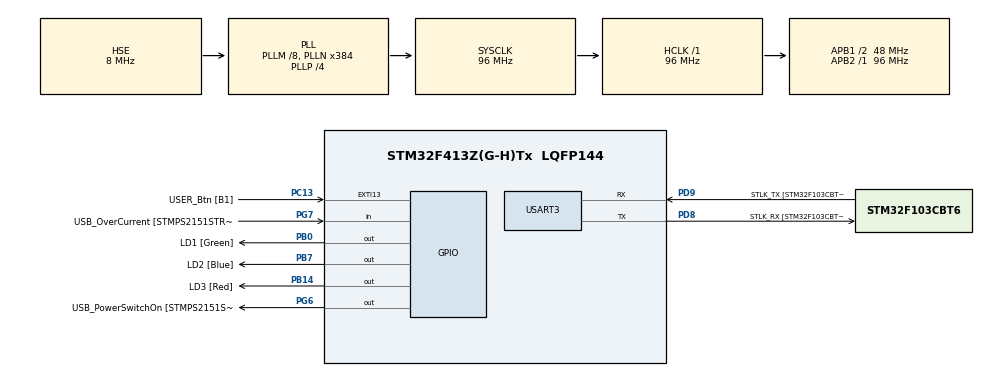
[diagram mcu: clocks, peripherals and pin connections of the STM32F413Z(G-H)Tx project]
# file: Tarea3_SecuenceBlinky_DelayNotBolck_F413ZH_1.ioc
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Mcu.Family=STM32F4
Mcu.Name=STM32F413Z(G-H)Tx
Mcu.Package=LQFP144
NVIC.PriorityGroup=NVIC_PRIORITYGROUP_4
PA10.GPIO_Label=USB_ID
PA10.Signal=USB_OTG_FS_ID
PA11.GPIO_Label=USB_DM
PA11.Signal=USB_OTG_FS_DM
PA12.GPIO_Label=USB_DP
PA12.Signal=USB_OTG_FS_DP
PA13.GPIO_Label=TMS
PA13.Mode=Serial_Wire
PA13.Signal=SYS_JTMS-SWDIO
PA14.GPIO_Label=TCK
PA14.Mode=Serial_Wire
PA14.Signal=SYS_JTCK-SWCLK
PA8.GPIO_Label=USB_SOF [TP1]
PA8.Signal=USB_OTG_FS_SOF
PA9.GPIO_Label=USB_VBUS
PA9.Signal=USB_OTG_FS_VBUS
PB0.GPIO_Label=LD1 [Green]
PB0.Signal=GPIO_Output
PB14.GPIO_Label=LD3 [Red]
PB14.Signal=GPIO_Output
PB3.GPIO_Label=SWO
PB3.Signal=SYS_JTDO-SWO
PB7.GPIO_Label=LD2 [Blue]
PB7.Signal=GPIO_Output
PC13.GPIO_Label=USER_Btn [B1]
PC13.Signal=GPXTI13
PC14-OSC32_IN.Mode=LSE-External-Oscillator
PC14-OSC32_IN.Signal=RCC_OSC32_IN
PC15-OSC32_OUT.Mode=LSE-External-Oscillator
PC15-OSC32_OUT.Signal=RCC_OSC32_OUT
PD8.GPIO_Label=STLK_RX [STM32F103CBT6_PA3]
PD8.Mode=Asynchronous
PD8.Signal=USART3_TX
PD9.GPIO_Label=STLK_TX [STM32F103CBT6_PA2]
PD9.Mode=Asynchronous
PD9.Signal=USART3_RX
PG6.GPIO_Label=USB_PowerSwitchOn [STMPS2151STR_EN]
PG6.Signal=GPIO_Output
PG7.GPIO_Label=USB_OverCurrent [STMPS2151STR_FAULT]
PG7.Signal=GPIO_Input
PH0\ -\ OSC_IN.GPIO_Label=MCO
PH0\ -\ OSC_IN.Mode=HSE-External-Clock-Source
PH0\ -\ OSC_IN.Signal=RCC_OSC_IN
PH1\ -\ OSC_OUT.Mode=HSE-External-Clock-Source
PH1\ -\ OSC_OUT.Signal=RCC_OSC_OUT
ProjectManager.HeapSize=0x200
ProjectManager.StackSize=0x400
ProjectManager.TargetToolchain=STM32CubeIDE
RCC.48MHZClocksFreq_Value=24000000
RCC.AHBFreq_Value=96000000
RCC.APB1CLKDivider=RCC_HCLK_DIV2
RCC.APB1Freq_Value=48000000
RCC.APB1TimFreq_Value=96000000
RCC.APB2Freq_Value=96000000
RCC.APB2TimFreq_Value=96000000
RCC.CortexFreq_Value=96000000
RCC.HCLKFreq_Value=96000000
RCC.HSE_VALUE=8000000
RCC.HSI_VALUE=16000000
RCC.PLLM=8
RCC.PLLMUL=RCC_PLL_MUL9
RCC.PLLN=384
RCC.PLLP=RCC_PLLP_DIV4
RCC.PLLQ=8
RCC.PLLSourceVirtual=RCC_PLLSOURCE_HSE
RCC.PRESCALERUSB=RCC_USBCLKSOURCE_PLL_DIV1_5
RCC.SYSCLKFreq_VALUE=96000000
RCC.SYSCLKSource=RCC_SYSCLKSOURCE_PLLCLK
RCC.SYSCLKSourceVirtual=RCC_SYSCLKSOURCE_PLLCLK
RCC.USBFreq_Value=48000000
RCC.VCOOutputFreq_Value=384000000
USART3.VirtualMode=VM_ASYNC
board=NUCLEO-F413ZH

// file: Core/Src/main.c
/* USER CODE BEGIN Header */
/**
  ******************************************************************************
  * @file           : main.c Tarea3_SecuenceBlinky_DelayNotBlock_F413ZH_1
  * @brief          : Main program body
  ******************************************************************************
  * @attention
  *
  * Copyright (c) 2023 STMicroelectronics.
  * All rights reserved.
  *
  * This software is licensed under terms that can be found in the LICENSE file
  * in the root directory of this software component.
  * If no LICENSE file comes with this software, it is provided AS-IS.
  *
  ******************************************************************************
  */
/* USER CODE END Header */
#include "main.h"
#include "API_delay.h"

/* USER CODE BEGIN PD */
/*Definition of periods in milliseconds for the USER LEDs*/
#define TIME_LD1 200
#define TIME_LD2 200
#define TIME_LD3 200
/* USER CODE END PD */

UART_HandleTypeDef huart3;

void SystemClock_Config(void);
static void MX_GPIO_Init(void);
static void MX_USART3_UART_Init(void);
void Error_Handler(void);

int main(void)
{
  /*Definition of delay structures for the USER LEDs*/
  delay_t delay_LD1;
  delay_t delay_LD2;
  delay_t delay_LD3;

  bool StatusLD1_Pin = false;
  bool StatusLD2_Pin = false;
  bool StatusLD3_Pin = false;

  /* MCU Configuration--------------------------------------------------------*/

  /* Reset of all peripherals, Initializes the Flash interface and the Systick. */
  HAL_Init();

  /* Configure the system clock */
  SystemClock_Config();

  /* USER CODE BEGIN SysInit */
  /*Inicializar funciones de delay para los LEDs de usuario*/
  delayInit( &delay_LD1, TIME_LD1 );
  delayInit( &delay_LD2, TIME_LD2 );
  delayInit( &delay_LD3, TIME_LD3 );

    /* USER CODE END SysInit */

  /* Initialize all configured peripherals */
  MX_GPIO_Init();
  MX_USART3_UART_Init();

  /* USER CODE BEGIN 2 */
  delayRead(&delay_LD1);/*Inicia conteo del delay la primera vez que se ejecuta*/
  HAL_GPIO_WritePin(GPIOB, LD1_Pin, GPIO_PIN_RESET); /*LD1_Pin Off*/
  StatusLD1_Pin = GetStatus_GPIO_Pin(GPIOB, LD1_Pin);

  delayRead(&delay_LD2);/*Inicia conteo del delay la primera vez que se ejecuta*/
  HAL_GPIO_WritePin(GPIOB, LD2_Pin, GPIO_PIN_RESET); /*LD2_Pin Off*/
  StatusLD2_Pin = GetStatus_GPIO_Pin(GPIOB, LD2_Pin);

  delayRead(&delay_LD3);/*Inicia conteo del delay la primera vez que se ejecuta*/
  HAL_GPIO_WritePin(GPIOB, LD3_Pin, GPIO_PIN_RESET); /*LD3_Pin Off*/
  StatusLD3_Pin = GetStatus_GPIO_Pin(GPIOB, LD3_Pin);

  /* USER CODE END 2 */

  /* Infinite loop */
  while (1)
  {
	if (delayRead(&delay_LD1) && (!StatusLD2_Pin) && (!StatusLD3_Pin))
	{
		HAL_GPIO_TogglePin(GPIOB, LD1_Pin);
	  	delayRead(&delay_LD1);/*Cuando delayRead()=True, en la proxima ejecución
	  		  	  	  	  	   *reinicia conteo del periodo programado*/
	  	StatusLD1_Pin = GetStatus_GPIO_Pin(GPIOB, LD1_Pin);
	}

	if (delayRead(&delay_LD2) && (!StatusLD1_Pin) && (!StatusLD3_Pin))
	{
	    HAL_GPIO_TogglePin(GPIOB, LD2_Pin);
	  	delayRead(&delay_LD2);/*Cuando delayRead()=True, en la proxima ejecución
	  		  		  	  	   *reinicia conteo del periodo programado*/
	  	StatusLD2_Pin = GetStatus_GPIO_Pin(GPIOB, LD2_Pin);
	}

	if (delayRead(&delay_LD3) && (!StatusLD1_Pin) && (!StatusLD2_Pin))
	{
	 	HAL_GPIO_TogglePin(GPIOB, LD3_Pin);
	  	delayRead(&delay_LD3);/*Cuando delayRead()=True, en la proxima ejecución
	  	  	  		  	  	   *reinicia conteo del periodo programado*/
	  	StatusLD3_Pin = GetStatus_GPIO_Pin(GPIOB, LD3_Pin);
	}
  }
}

void SystemClock_Config(void)
{
  RCC_OscInitTypeDef RCC_OscInitStruct = {0};
  RCC_ClkInitTypeDef RCC_ClkInitStruct = {0};

  /** Configure the main internal regulator output voltage
  */
  __HAL_RCC_PWR_CLK_ENABLE();
  __HAL_PWR_VOLTAGESCALING_CONFIG(PWR_REGULATOR_VOLTAGE_SCALE1);

  /** Initializes the RCC Oscillators according to the specified parameters
  * in the RCC_OscInitTypeDef structure.
  */
  RCC_OscInitStruct.OscillatorType = RCC_OSCILLATORTYPE_HSE;
  RCC_OscInitStruct.HSEState = RCC_HSE_BYPASS;
  RCC_OscInitStruct.PLL.PLLState = RCC_PLL_ON;
  RCC_OscInitStruct.PLL.PLLSource = RCC_PLLSOURCE_HSE;
  RCC_OscInitStruct.PLL.PLLM = 8;
  RCC_OscInitStruct.PLL.PLLN = 384;
  RCC_OscInitStruct.PLL.PLLP = RCC_PLLP_DIV4;
  RCC_OscInitStruct.PLL.PLLQ = 8;
  RCC_OscInitStruct.PLL.PLLR = 2;
  if (HAL_RCC_OscConfig(&RCC_OscInitStruct) != HAL_OK)
  {
    Error_Handler();
  }

  /** Initializes the CPU, AHB and APB buses clocks
  */
  RCC_ClkInitStruct.ClockType = RCC_CLOCKTYPE_HCLK|RCC_CLOCKTYPE_SYSCLK
                              |RCC_CLOCKTYPE_PCLK1|RCC_CLOCKTYPE_PCLK2;
  RCC_ClkInitStruct.SYSCLKSource = RCC_SYSCLKSOURCE_PLLCLK;
  RCC_ClkInitStruct.AHBCLKDivider = RCC_SYSCLK_DIV1;
  RCC_ClkInitStruct.APB1CLKDivider = RCC_HCLK_DIV2;
  RCC_ClkInitStruct.APB2CLKDivider = RCC_HCLK_DIV1;

  if (HAL_RCC_ClockConfig(&RCC_ClkInitStruct, FLASH_LATENCY_3) != HAL_OK)
  {
    Error_Handler();
  }
}

static void MX_USART3_UART_Init(void)
{

  huart3.Instance = USART3;
  huart3.Init.BaudRate = 115200;
  huart3.Init.WordLength = UART_WORDLENGTH_8B;
  huart3.Init.StopBits = UART_STOPBITS_1;
  huart3.Init.Parity = UART_PARITY_NONE;
  huart3.Init.Mode = UART_MODE_TX_RX;
  huart3.Init.HwFlowCtl = UART_HWCONTROL_NONE;
  huart3.Init.OverSampling = UART_OVERSAMPLING_16;
  if (HAL_UART_Init(&huart3) != HAL_OK)
  {
    Error_Handler();
  }

}

static void MX_GPIO_Init(void)
{
  GPIO_InitTypeDef GPIO_InitStruct = {0};

  /* GPIO Ports Clock Enable */
  __HAL_RCC_GPIOC_CLK_ENABLE();
  __HAL_RCC_GPIOH_CLK_ENABLE();
  __HAL_RCC_GPIOB_CLK_ENABLE();
  __HAL_RCC_GPIOD_CLK_ENABLE();
  __HAL_RCC_GPIOG_CLK_ENABLE();
  __HAL_RCC_GPIOA_CLK_ENABLE();

  /*Configure GPIO pin Output Level */
  HAL_GPIO_WritePin(GPIOB, LD1_Pin|LD3_Pin|LD2_Pin, GPIO_PIN_RESET);

  /*Configure GPIO pin Output Level */
  HAL_GPIO_WritePin(USB_PowerSwitchOn_GPIO_Port, USB_PowerSwitchOn_Pin, GPIO_PIN_RESET);

  /*Configure GPIO pin : USER_Btn_Pin */
  GPIO_InitStruct.Pin = USER_Btn_Pin;
  GPIO_InitStruct.Mode = GPIO_MODE_IT_RISING;
  GPIO_InitStruct.Pull = GPIO_NOPULL;
  HAL_GPIO_Init(USER_Btn_GPIO_Port, &GPIO_InitStruct);

  /*Configure GPIO pins : LD1_Pin LD3_Pin LD2_Pin */
  GPIO_InitStruct.Pin = LD1_Pin|LD3_Pin|LD2_Pin;
  GPIO_InitStruct.Mode = GPIO_MODE_OUTPUT_PP;
  GPIO_InitStruct.Pull = GPIO_NOPULL;
  GPIO_InitStruct.Speed = GPIO_SPEED_FREQ_LOW;
  HAL_GPIO_Init(GPIOB, &GPIO_InitStruct);

  /*Configure GPIO pin : USB_PowerSwitchOn_Pin */
  GPIO_InitStruct.Pin = USB_PowerSwitchOn_Pin;
  GPIO_InitStruct.Mode = GPIO_MODE_OUTPUT_PP;
  GPIO_InitStruct.Pull = GPIO_NOPULL;
  GPIO_InitStruct.Speed = GPIO_SPEED_FREQ_LOW;
  HAL_GPIO_Init(USB_PowerSwitchOn_GPIO_Port, &GPIO_InitStruct);

  /*Configure GPIO pin : USB_OverCurrent_Pin */
  GPIO_InitStruct.Pin = USB_OverCurrent_Pin;
  GPIO_InitStruct.Mode = GPIO_MODE_INPUT;
  GPIO_InitStruct.Pull = GPIO_NOPULL;
  HAL_GPIO_Init(USB_OverCurrent_GPIO_Port, &GPIO_InitStruct);

  /*Configure GPIO pins : USB_SOF_Pin USB_ID_Pin USB_DM_Pin USB_DP_Pin */
  GPIO_InitStruct.Pin = USB_SOF_Pin|USB_ID_Pin|USB_DM_Pin|USB_DP_Pin;
  GPIO_InitStruct.Mode = GPIO_MODE_AF_PP;
  GPIO_InitStruct.Pull = GPIO_NOPULL;
  GPIO_InitStruct.Speed = GPIO_SPEED_FREQ_VERY_HIGH;
  GPIO_InitStruct.Alternate = GPIO_AF10_OTG_FS;
  HAL_GPIO_Init(GPIOA, &GPIO_InitStruct);

}

void Error_Handler(void)
{
  /* USER CODE BEGIN Error_Handler_Debug */
  /* User can add his own implementation to report the HAL error return state */
  /*If an error occurs the USER LED RED stays on*/
  HAL_GPIO_WritePin(GPIOB, LD3_Pin, GPIO_PIN_SET);
  while (1)
  {
  }
  /* USER CODE END Error_Handler_Debug */
}
